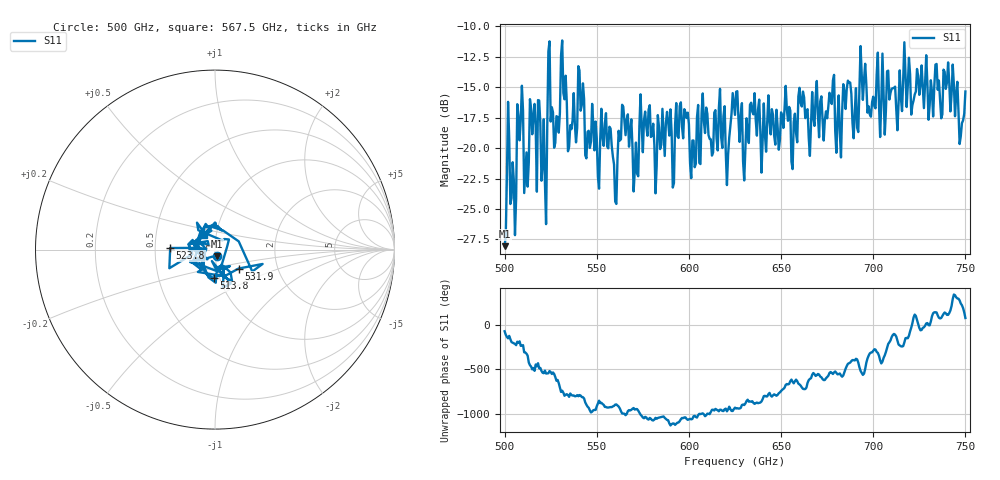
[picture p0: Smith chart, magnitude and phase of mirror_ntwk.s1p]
!Created with skrf (http://scikit-rf.org).
# GHz S RI R 50.0
!freq ReS11 ImS11
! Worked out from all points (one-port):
!   401 points, 500 GHz to 750 GHz, reference 50 ohm
!   lowest |S11| = -28.1 dB at 500 GHz (marker M1), VSWR 1.08, Z = 50.9 - j3.89 ohm
!   |S11| at or under -10 dB: start of sweep to end of sweep
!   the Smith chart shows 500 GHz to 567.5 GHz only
!   S11 on the Smith chart (normalised r, x): 500 GHz: 1.02, -0.08; 513.8 GHz: 0.94, -0.31; 523.8 GHz: 0.60, +0.01; 531.9 GHz: 1.27, -0.28; 567.5 GHz: 0.87, +0.14
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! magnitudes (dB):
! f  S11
! 500 GHz  -28.1
! 505 GHz  -22.6
! 508.1 GHz  -19.4
! 511.9 GHz  -20.3
! 513.8 GHz  -16.0
! 521.2 GHz  -17.6
! 523.8 GHz  -12.0
! 528.1 GHz  -17.4
! 531.2 GHz  -11.1
! 531.9 GHz  -15.5
! 535.6 GHz  -18.1
! 541.2 GHz  -16.9
! 545 GHz  -18.7
! 553.8 GHz  -19.8
! 560 GHz  -24.4
! 562.5 GHz  -19.4
! 567.5 GHz  -19.9
! 571.2 GHz  -19.5
! 575 GHz  -20.3
! 593.8 GHz  -19.0
! 621.2 GHz  -20.6
! 625 GHz  -17.3
! 630.6 GHz  -20.0
! 634.4 GHz  -17.0
! 656.2 GHz  -21.7
! 687.5 GHz  -14.6
! 718.8 GHz  -14.9
! 750 GHz  -15.3
